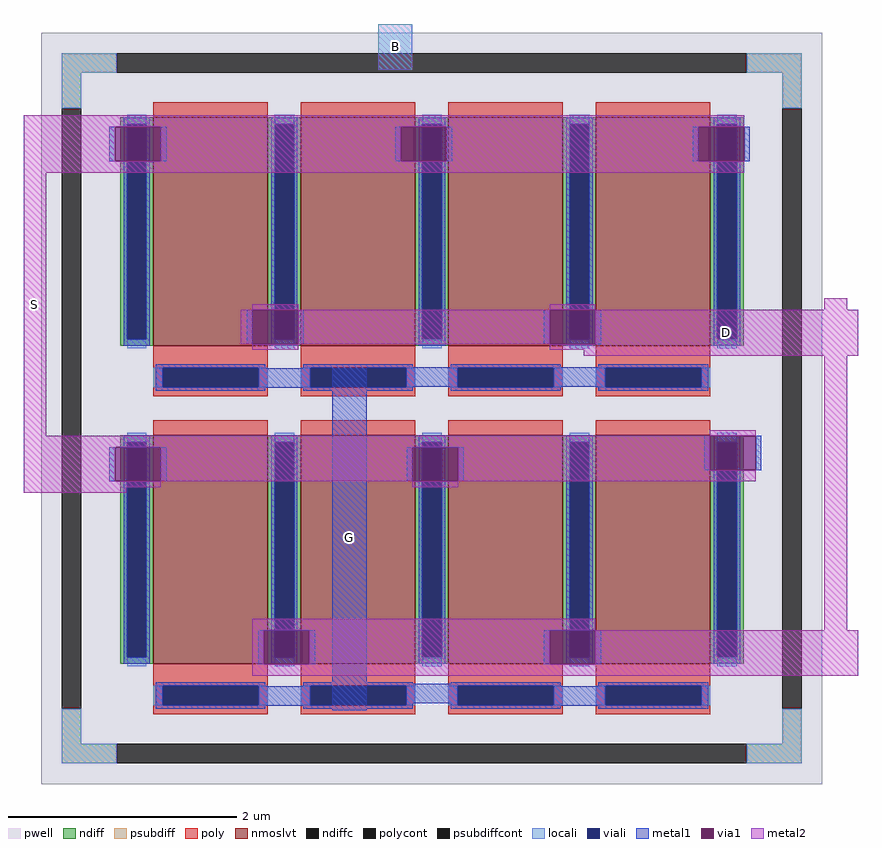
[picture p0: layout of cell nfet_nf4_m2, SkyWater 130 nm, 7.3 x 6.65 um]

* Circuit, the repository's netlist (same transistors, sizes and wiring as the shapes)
* NGSPICE file created from nfet_nf4_m2.ext - technology: sky130A

.subckt sky130_fd_pr__nfet_01v8_lvt_T7FZYG a_229_109# a_n229_n535# a_n487_21# a_287_n535#
+ a_229_n447# a_n545_109# a_287_21# a_n545_n447# a_487_109# a_n29_109# a_29_21# a_n487_n535#
+ a_n287_109# a_487_n447# a_n29_n447# a_n647_n621# a_n229_21# a_29_n535# a_n287_n447#
X0 a_229_109# a_29_21# a_n29_109# a_n647_n621# sky130_fd_pr__nfet_01v8_lvt ad=5.8e+11p pd=4.58e+06u as=5.8e+11p ps=4.58e+06u w=2e+06u l=1e+06u
X1 a_n29_n447# a_n229_n535# a_n287_n447# a_n647_n621# sky130_fd_pr__nfet_01v8_lvt ad=5.8e+11p pd=4.58e+06u as=5.8e+11p ps=4.58e+06u w=2e+06u l=1e+06u
X2 a_229_n447# a_29_n535# a_n29_n447# a_n647_n621# sky130_fd_pr__nfet_01v8_lvt ad=5.8e+11p pd=4.58e+06u as=0p ps=0u w=2e+06u l=1e+06u
X3 a_487_109# a_287_21# a_229_109# a_n647_n621# sky130_fd_pr__nfet_01v8_lvt ad=5.8e+11p pd=4.58e+06u as=0p ps=0u w=2e+06u l=1e+06u
X4 a_n287_n447# a_n487_n535# a_n545_n447# a_n647_n621# sky130_fd_pr__nfet_01v8_lvt ad=0p pd=0u as=5.8e+11p ps=4.58e+06u w=2e+06u l=1e+06u
X5 a_n287_109# a_n487_21# a_n545_109# a_n647_n621# sky130_fd_pr__nfet_01v8_lvt ad=5.8e+11p pd=4.58e+06u as=5.8e+11p ps=4.58e+06u w=2e+06u l=1e+06u
X6 a_487_n447# a_287_n535# a_229_n447# a_n647_n621# sky130_fd_pr__nfet_01v8_lvt ad=5.8e+11p pd=4.58e+06u as=0p ps=0u w=2e+06u l=1e+06u
X7 a_n29_109# a_n229_21# a_n287_109# a_n647_n621# sky130_fd_pr__nfet_01v8_lvt ad=0p pd=0u as=0p ps=0u w=2e+06u l=1e+06u
.ends

.subckt nfet_nf4_m2
Xsky130_fd_pr__nfet_01v8_lvt_T7FZYG_0 D m1_834_666# m1_834_666# m1_834_666# D S m1_834_666#
+ S S S m1_834_666# m1_834_666# D S S B m1_834_666# m1_834_666# D sky130_fd_pr__nfet_01v8_lvt_T7FZYG
.ends

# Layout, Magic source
magic
tech sky130A
magscale 1 2
<< locali >>
rect 520 1220 580 1300
<< metal1 >>
rect 50 1060 60 1120
rect 140 1060 150 1120
rect 550 1060 560 1120
rect 640 1060 650 1120
rect 1070 1060 1080 1120
rect 1160 1060 1170 1120
rect 290 740 300 800
rect 380 740 390 800
rect 810 740 820 800
rect 900 740 910 800
rect 320 664 400 698
rect 50 500 60 560
rect 140 500 150 560
rect 310 180 320 240
rect 400 180 410 240
rect 318 108 398 142
rect 440 100 500 700
rect 570 666 650 700
rect 834 666 914 700
rect 570 500 580 560
rect 660 500 670 560
rect 1090 520 1100 580
rect 1180 520 1190 580
rect 810 180 820 240
rect 900 180 910 240
rect 574 112 654 146
rect 830 108 910 142
<< via1 >>
rect 60 1060 140 1120
rect 560 1060 640 1120
rect 1080 1060 1160 1120
rect 300 740 380 800
rect 820 740 900 800
rect 60 500 140 560
rect 320 180 400 240
rect 580 500 660 560
rect 1100 520 1180 580
rect 820 180 900 240
<< metal2 >>
rect -100 1120 1160 1140
rect -100 1060 60 1120
rect 140 1060 560 1120
rect 640 1060 1080 1120
rect -100 1040 1160 1060
rect -100 580 -60 1040
rect 300 800 380 810
rect 820 800 900 810
rect 1300 800 1340 820
rect 280 740 300 800
rect 380 740 820 800
rect 900 740 1360 800
rect 300 730 380 740
rect 820 730 1360 740
rect 880 720 1360 730
rect 1100 580 1180 590
rect -100 560 1100 580
rect -100 500 60 560
rect 140 500 580 560
rect 660 520 1100 560
rect 660 500 1180 520
rect -100 490 140 500
rect 580 490 660 500
rect -100 480 80 490
rect 300 240 900 260
rect 1300 240 1340 720
rect 300 180 320 240
rect 400 180 820 240
rect 900 180 1360 240
rect 300 160 1360 180
use sky130_fd_pr__nfet_01v8_lvt_T7FZYG  sky130_fd_pr__nfet_01v8_lvt_T7FZYG_0
transform 1 0 614 0 1 628
box -683 -657 683 657
<< labels >>
rlabel metal2 900 720 1360 800 3 D
rlabel metal2 -100 480 -60 1140 7 S
rlabel space 440 100 500 705 0 G
rlabel locali 520 1220 580 1300 1 B
<< end >>

# cell sky130_fd_pr__nfet_01v8_lvt_T7FZYG: kit device sky130_fd_pr__nfet_01v8_lvt, w 2 l 1 m 2 nf 4 diffcov 100 polycov 100 guard 1 glc 1 grc 1 gtc 1 gbc 1 tbcov 100 rlcov 100 topc 0 botc 1 poverlap 0 doverlap 1 lmin 0.15 wmin 0.42 compatible {sky130_fd_pr__nfet_01v8 sky130_fd_pr__nfet_01v8_lvt sky130_fd_bs_flash__special_sonosfet_star sky130_fd_pr__nfet_g5v0d10v5 sky130_fd_pr__nfet_05v0_nvt sky130_fd_pr__nfet_03v3_nvt} full_metal 1 viasrc 100 viadrn 100 viagate 100 viagb 0 viagr 0 viagl 0 viagt 0
